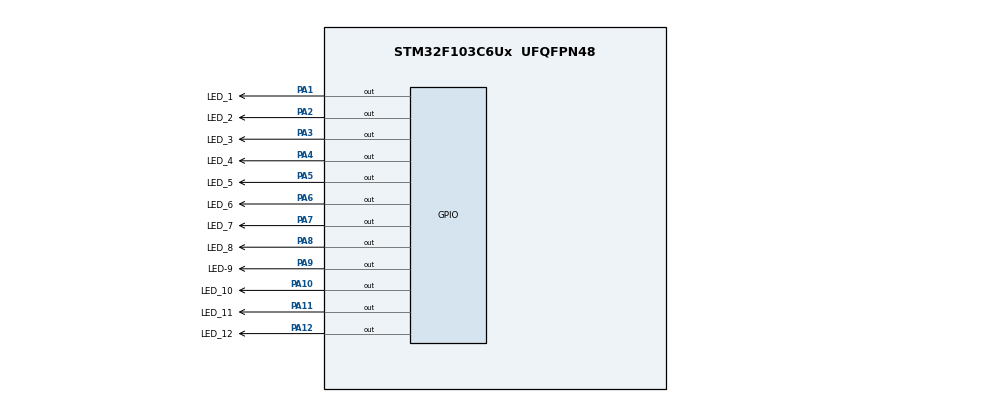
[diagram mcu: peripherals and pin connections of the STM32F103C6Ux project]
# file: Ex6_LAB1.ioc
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Mcu.Family=STM32F1
Mcu.Name=STM32F103C6Ux
Mcu.Package=UFQFPN48
NVIC.PriorityGroup=NVIC_PRIORITYGROUP_4
PA1.GPIO_Label=LED_1
PA1.Signal=GPIO_Output
PA10.GPIO_Label=LED_10
PA10.Signal=GPIO_Output
PA11.GPIO_Label=LED_11
PA11.Signal=GPIO_Output
PA12.GPIO_Label=LED_12
PA12.Signal=GPIO_Output
PA2.GPIO_Label=LED_2
PA2.Signal=GPIO_Output
PA3.GPIO_Label=LED_3
PA3.Signal=GPIO_Output
PA4.GPIO_Label=LED_4
PA4.Signal=GPIO_Output
PA5.GPIO_Label=LED_5
PA5.Signal=GPIO_Output
PA6.GPIO_Label=LED_6
PA6.Signal=GPIO_Output
PA7.GPIO_Label=LED_7
PA7.Signal=GPIO_Output
PA8.GPIO_Label=LED_8
PA8.Signal=GPIO_Output
PA9.GPIO_Label=LED-9
PA9.Signal=GPIO_Output
ProjectManager.HeapSize=0x200
ProjectManager.StackSize=0x400
ProjectManager.TargetToolchain=STM32CubeIDE
RCC.APB1Freq_Value=8000000
RCC.APB2Freq_Value=8000000
VP_SYS_VS_ND.Mode=No_Debug
board=custom

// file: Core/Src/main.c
/* USER CODE BEGIN Header */
/**
  ******************************************************************************
  * @file           : main.c
  * @brief          : Main program body
  ******************************************************************************
  * @attention
  *
  * <h2><center>&copy; Copyright (c) 2022 STMicroelectronics.
  * All rights reserved.</center></h2>
  *
  * This software component is licensed by ST under BSD 3-Clause license,
  * the "License"; You may not use this file except in compliance with the
  * License. You may obtain a copy of the License at:
  *                        opensource.org/licenses/BSD-3-Clause
  *
  ******************************************************************************
  */
/* USER CODE END Header */
#include "main.h"

void SystemClock_Config(void);
static void MX_GPIO_Init(void);

/* USER CODE BEGIN 0 */
//Ex6
void testingSystem(){
	HAL_GPIO_TogglePin(LED_1_GPIO_Port, LED_1_Pin);
	HAL_Delay(100);
	HAL_GPIO_TogglePin(LED_2_GPIO_Port, LED_2_Pin);
	HAL_Delay(100);
	HAL_GPIO_TogglePin(LED_3_GPIO_Port, LED_3_Pin);
	HAL_Delay(100);
	HAL_GPIO_TogglePin(LED_4_GPIO_Port, LED_4_Pin);
	HAL_Delay(100);
	HAL_GPIO_TogglePin(LED_5_GPIO_Port, LED_5_Pin);
	HAL_Delay(100);
	HAL_GPIO_TogglePin(LED_6_GPIO_Port, LED_6_Pin);
	HAL_Delay(100);
	HAL_GPIO_TogglePin(LED_7_GPIO_Port, LED_7_Pin);
	HAL_Delay(100);
	HAL_GPIO_TogglePin(LED_8_GPIO_Port, LED_8_Pin);
	HAL_Delay(100);
	HAL_GPIO_TogglePin(LED_9_GPIO_Port, LED_9_Pin);
	HAL_Delay(100);
	HAL_GPIO_TogglePin(LED_10_GPIO_Port, LED_10_Pin);
	HAL_Delay(100);
	HAL_GPIO_TogglePin(LED_11_GPIO_Port, LED_11_Pin);
	HAL_Delay(100);
	HAL_GPIO_TogglePin(LED_12_GPIO_Port, LED_12_Pin);
	HAL_Delay(100);
}

//Ex7
void clearAllClock (){
	HAL_GPIO_WritePin(LED_1_GPIO_Port, LED_1_Pin, SET);
	HAL_GPIO_WritePin(LED_2_GPIO_Port, LED_2_Pin, SET);
	HAL_GPIO_WritePin(LED_3_GPIO_Port, LED_3_Pin, SET);
	HAL_GPIO_WritePin(LED_4_GPIO_Port, LED_4_Pin, SET);
	HAL_GPIO_WritePin(LED_5_GPIO_Port, LED_5_Pin, SET);
	HAL_GPIO_WritePin(LED_6_GPIO_Port, LED_6_Pin, SET);
	HAL_GPIO_WritePin(LED_7_GPIO_Port, LED_7_Pin, SET);
	HAL_GPIO_WritePin(LED_8_GPIO_Port, LED_8_Pin, SET);
	HAL_GPIO_WritePin(LED_9_GPIO_Port, LED_9_Pin, SET);
	HAL_GPIO_WritePin(LED_10_GPIO_Port, LED_10_Pin, SET);
	HAL_GPIO_WritePin(LED_11_GPIO_Port, LED_11_Pin, SET);
	HAL_GPIO_WritePin(LED_12_GPIO_Port, LED_12_Pin, SET);
}

//Ex8
void setNumberOnClock (int num){
	switch (num){
		case 0:
			HAL_GPIO_WritePin(LED_12_GPIO_Port, LED_12_Pin, RESET);
			break;
		case 1:
			HAL_GPIO_WritePin(LED_1_GPIO_Port, LED_1_Pin, RESET);
			break;
		case 2:
			HAL_GPIO_WritePin(LED_2_GPIO_Port, LED_2_Pin, RESET);
			break;
		case 3:
			HAL_GPIO_WritePin(LED_3_GPIO_Port, LED_3_Pin, RESET);
			break;
		case 4:
			HAL_GPIO_WritePin(LED_4_GPIO_Port, LED_4_Pin, RESET);
			break;
		case 5:
			HAL_GPIO_WritePin(LED_5_GPIO_Port, LED_5_Pin, RESET);
			break;
		case 6:
			HAL_GPIO_WritePin(LED_6_GPIO_Port, LED_6_Pin, RESET);
			break;
		case 7:
			HAL_GPIO_WritePin(LED_7_GPIO_Port, LED_7_Pin, RESET);
			break;
		case 8:
			HAL_GPIO_WritePin(LED_8_GPIO_Port, LED_8_Pin, RESET);
			break;
		case 9:
			HAL_GPIO_WritePin(LED_9_GPIO_Port, LED_9_Pin, RESET);
			break;
		case 10:
			HAL_GPIO_WritePin(LED_10_GPIO_Port, LED_10_Pin, RESET);
			break;
		case 11:
			HAL_GPIO_WritePin(LED_11_GPIO_Port, LED_11_Pin, RESET);
			break;
		default:
			break;
	}
}

// Ex9
void clearNumberOnClock (int num){
	switch (num){
		case 0:
			HAL_GPIO_WritePin(LED_12_GPIO_Port, LED_12_Pin, SET);
			break;
		case 1:
			HAL_GPIO_WritePin(LED_1_GPIO_Port, LED_1_Pin, SET);
			break;
		case 2:
			HAL_GPIO_WritePin(LED_2_GPIO_Port, LED_2_Pin, SET);
			break;
		case 3:
			HAL_GPIO_WritePin(LED_3_GPIO_Port, LED_3_Pin, SET);
			break;
		case 4:
			HAL_GPIO_WritePin(LED_4_GPIO_Port, LED_4_Pin, SET);
			break;
		case 5:
			HAL_GPIO_WritePin(LED_5_GPIO_Port, LED_5_Pin, SET);
			break;
		case 6:
			HAL_GPIO_WritePin(LED_6_GPIO_Port, LED_6_Pin, SET);
			break;
		case 7:
			HAL_GPIO_WritePin(LED_7_GPIO_Port, LED_7_Pin, SET);
			break;
		case 8:
			HAL_GPIO_WritePin(LED_8_GPIO_Port, LED_8_Pin, SET);
			break;
		case 9:
			HAL_GPIO_WritePin(LED_9_GPIO_Port, LED_9_Pin, SET);
			break;
		case 10:
			HAL_GPIO_WritePin(LED_10_GPIO_Port, LED_10_Pin, SET);
			break;
		case 11:
			HAL_GPIO_WritePin(LED_11_GPIO_Port, LED_11_Pin, SET);
			break;
		default:
			break;
	}
}

//Ex10
void display(int hr, int min, int sec){
	setNumberOnClock(hr%12);
	setNumberOnClock(min/5);
	setNumberOnClock(sec/5);
}

/* USER CODE END 0 */

int main(void)
{

  /* MCU Configuration--------------------------------------------------------*/

  /* Reset of all peripherals, Initializes the Flash interface and the Systick. */
  HAL_Init();

  /* Configure the system clock */
  SystemClock_Config();

  /* Initialize all configured peripherals */
  MX_GPIO_Init();

  /* Infinite loop */
  /* USER CODE BEGIN WHILE */
  //static int counter = 0;  For testing Ex8 & Ex9
  static int hr = 0, min = 0, sec = 0;
  while (1)
  {
	//Ex6 - Testing all LEDs in sequence
//	testingSystem();

	//Ex7 - Turn off all LEDs
	clearAllClock();

	//Ex8 - Set Number on clock - Test Unit
	/*if (counter > 11) counter = 0;
	setNumberOnClock(counter);
	HAL_Delay(1000);

	//Ex9 - clearNumberOnClock - Test Unit
	clearNumberOnClock(counter);
	HAL_Delay(1000);

	counter++; */

	//Ex10 - Integrate the whole system
	sec++;
	if (sec >= 60){sec = 0; min++;}
	if (min >= 60){min = 0; hr++;}
	if (hr >= 24) {hr = 0;}

	display(hr,min,sec);
	HAL_Delay(1000);
	/* USER CODE END WHILE */

  }
}

void SystemClock_Config(void)
{
  RCC_OscInitTypeDef RCC_OscInitStruct = {0};
  RCC_ClkInitTypeDef RCC_ClkInitStruct = {0};

  /** Initializes the RCC Oscillators according to the specified parameters
  * in the RCC_OscInitTypeDef structure.
  */
  RCC_OscInitStruct.OscillatorType = RCC_OSCILLATORTYPE_HSI;
  RCC_OscInitStruct.HSIState = RCC_HSI_ON;
  RCC_OscInitStruct.HSICalibrationValue = RCC_HSICALIBRATION_DEFAULT;
  RCC_OscInitStruct.PLL.PLLState = RCC_PLL_NONE;
  if (HAL_RCC_OscConfig(&RCC_OscInitStruct) != HAL_OK)
  {
    Error_Handler();
  }
  /** Initializes the CPU, AHB and APB buses clocks
  */
  RCC_ClkInitStruct.ClockType = RCC_CLOCKTYPE_HCLK|RCC_CLOCKTYPE_SYSCLK
                              |RCC_CLOCKTYPE_PCLK1|RCC_CLOCKTYPE_PCLK2;
  RCC_ClkInitStruct.SYSCLKSource = RCC_SYSCLKSOURCE_HSI;
  RCC_ClkInitStruct.AHBCLKDivider = RCC_SYSCLK_DIV1;
  RCC_ClkInitStruct.APB1CLKDivider = RCC_HCLK_DIV1;
  RCC_ClkInitStruct.APB2CLKDivider = RCC_HCLK_DIV1;

  if (HAL_RCC_ClockConfig(&RCC_ClkInitStruct, FLASH_LATENCY_0) != HAL_OK)
  {
    Error_Handler();
  }
}

static void MX_GPIO_Init(void)
{
  GPIO_InitTypeDef GPIO_InitStruct = {0};

  /* GPIO Ports Clock Enable */
  __HAL_RCC_GPIOA_CLK_ENABLE();

  /*Configure GPIO pin Output Level */
  HAL_GPIO_WritePin(GPIOA, LED_1_Pin|LED_2_Pin|LED_3_Pin|LED_4_Pin
                          |LED_5_Pin|LED_6_Pin|LED_7_Pin|LED_8_Pin
                          |LED_9_Pin|LED_10_Pin|LED_11_Pin|LED_12_Pin, GPIO_PIN_RESET);

  /*Configure GPIO pins : LED_1_Pin LED_2_Pin LED_3_Pin LED_4_Pin
                           LED_5_Pin LED_6_Pin LED_7_Pin LED_8_Pin
                           LED_9_Pin LED_10_Pin LED_11_Pin LED_12_Pin */
  GPIO_InitStruct.Pin = LED_1_Pin|LED_2_Pin|LED_3_Pin|LED_4_Pin
                          |LED_5_Pin|LED_6_Pin|LED_7_Pin|LED_8_Pin
                          |LED_9_Pin|LED_10_Pin|LED_11_Pin|LED_12_Pin;
  GPIO_InitStruct.Mode = GPIO_MODE_OUTPUT_PP;
  GPIO_InitStruct.Pull = GPIO_NOPULL;
  GPIO_InitStruct.Speed = GPIO_SPEED_FREQ_LOW;
  HAL_GPIO_Init(GPIOA, &GPIO_InitStruct);

}

void Error_Handler(void)
{
  __disable_irq();
  while (1)
  {
  }
}

/************************ (C) COPYRIGHT STMicroelectronics *****END OF FILE****/
